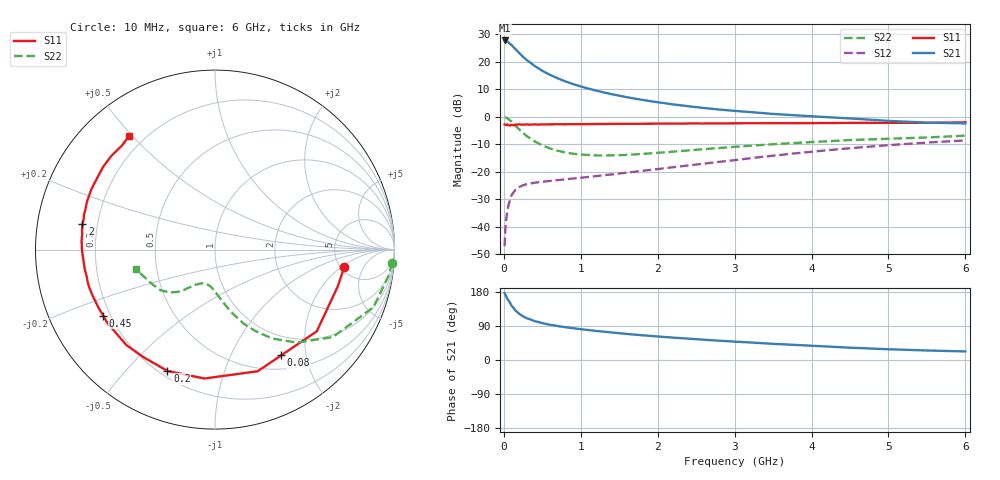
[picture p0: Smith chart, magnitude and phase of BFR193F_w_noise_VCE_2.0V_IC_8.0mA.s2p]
! Infineon Technologies  Discrete & RF Semiconductors
! BFR193F
! VCE =  2.0 V,  IC =  8.0 mA
! Common Emitter S-Parameters:  Jan 2017
# GHz  S  MA  R  50
!  f  S11  S21  S12  S22
! GHz  MAG  ANG  MAG  ANG  MAG  ANG  MAG  ANG
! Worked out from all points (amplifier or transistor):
!   77 points, 10 MHz to 6 GHz, reference 50 ohm
!   highest |S21| = 27.8 dB at 10 MHz (marker M1)
!   |S21| within 3 dB of that: start of sweep to 145.9 MHz
!   unconditionally stable (mu >= 1): 1.59 GHz to 3.011 GHz
!   at 130 MHz: K = 0.15, MSG = 26.3 dB, |S12| = -27.4 dB
!   at 2.2 GHz: K = 1.06, MAG = 9.9 dB, |S12| = -18.4 dB
!   at 6 GHz: K = 0.83, MSG = 3.1 dB, |S12| = -8.6 dB
!   lowest NFmin = 0.84 dB at 450 MHz
!   S11 on the Smith chart (normalised r, x): 10 MHz: 5.37, -2.21; 80 MHz: 0.69, -1.58; 200 MHz: 0.23, -0.66; 450 MHz: 0.17, -0.27; 2 GHz: 0.14, +0.09; 6 GHz: 0.14, +0.49
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0.01  0.7264 -7.7  24.6 176.4  0.0044 87.8  0.9883 -4.3
0.02  0.7143 -16.6  24.42 171.8  0.0093 82.8  0.9797 -8.3
0.05  0.7272 -38.8  23.38 160.2  0.0211 71.9  0.9391 -20.0
0.08  0.6951 -57.9  21.36 150.6  0.0306 62.9  0.8572 -29.4
0.1  0.7183 -70.7  20.39 143.3  0.0372 59.5  0.8174 -36.6
0.13  0.7047 -85.2  18.36 136.4  0.0428 53.3  0.7373 -43.3
0.15  0.7207 -94.7  17.19 131.0  0.0467 50.0  0.6905 -48.6
0.2  0.726 -111.4  14.55 121.9  0.0526 44.0  0.5899 -57.2
0.25  0.7199 -123.7  12.37 115.1  0.0566 39.2  0.5054 -63.7
0.3  0.7257 -132.8  10.77 110.1  0.0594 37.3  0.4445 -68.7
0.4  0.7257 -145.4  8.428 102.5  0.063 34.6  0.3569 -75.8
0.45  0.7236 -149.5  7.652 100.2  0.0643 34.5  0.3291 -78.0
0.6  0.7294 -159.8  5.818 93.0  0.0679 35.2  0.2655 -84.9
0.7  0.7326 -164.7  5.033 89.6  0.0702 36.2  0.2414 -88.6
1.1  0.7368 -176.4  3.26 79.0  0.0804 43.4  0.2019 -100.4
1.5  0.7446 176.2  2.424 70.7  0.0926 50.4  0.2003 -109.6
2  0.7518 169.2  1.844 62.1  0.1117 57.5  0.2205 -118.2
2.1  0.7512 168.2  1.763 60.6  0.1161 58.5  0.2261 -119.3
3.1  0.7624 158.0  1.252 47.4  0.169 65.9  0.2902 -128.4
4.1  0.7689 147.8  1.005 36.6  0.2381 66.6  0.3523 -137.9
5.1  0.7777 136.5  0.831 27.7  0.3112 62.5  0.4028 -152.6
6  0.794 126.9  0.759 22.6  0.3714 57.0  0.454 -166.0
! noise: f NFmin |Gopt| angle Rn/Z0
0.45  0.84  0.25  124  0.08
0.9  0.99  0.4  147  0.07
1.9  1.74  0.61  -177  0.05
2.4  2.11  0.64  -167  0.08
